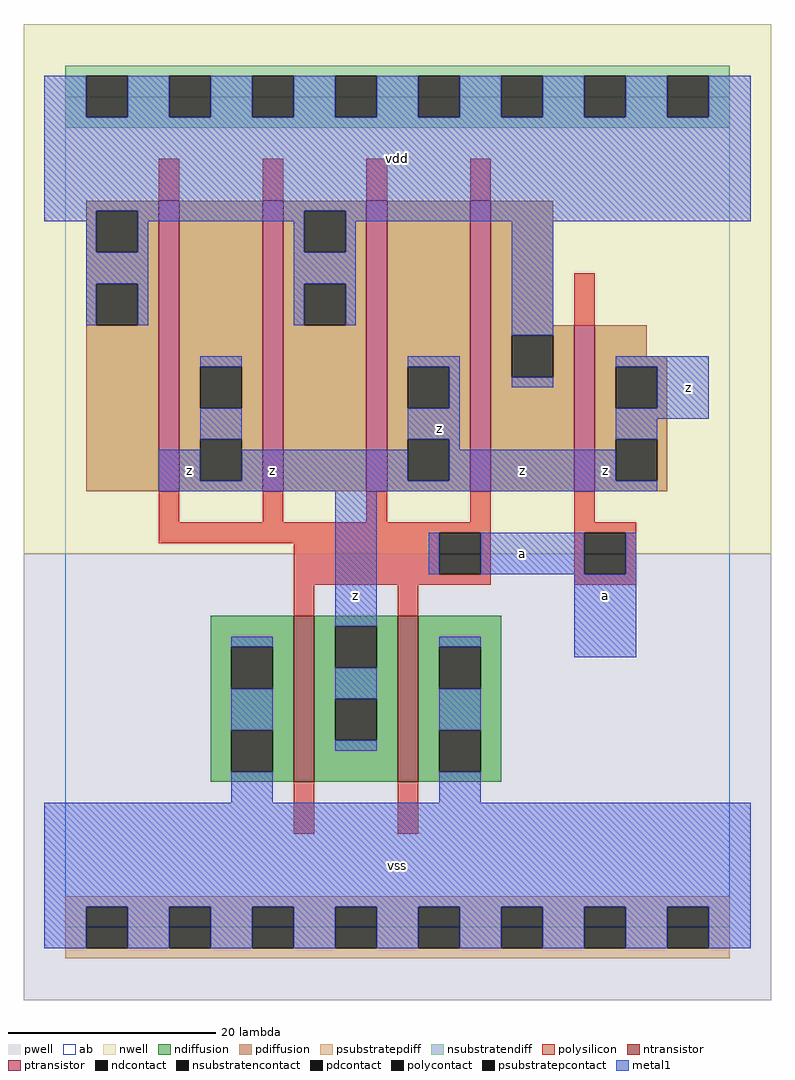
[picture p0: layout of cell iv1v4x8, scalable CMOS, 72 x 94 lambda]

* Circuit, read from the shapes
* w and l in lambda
.subckt iv1v4x8 a vdd vss z
M1 z a vss vss nfet w=16 l=2 m=2
M2 z a vdd vdd pfet w=28 l=2 m=4
M3 z a vdd vdd pfet w=16 l=2
.ends

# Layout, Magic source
magic
tech scmos
<< ab >>
rect 0 0 64 80
<< pwell >>
rect -4 -7 68 36
<< nwell >>
rect -4 36 68 87
<< polysilicon >>
rect 9 70 11 74
rect 19 70 21 74
rect 29 70 31 74
rect 39 70 41 74
rect 49 58 51 63
rect 9 39 11 42
rect 19 39 21 42
rect 29 39 31 42
rect 39 39 41 42
rect 9 38 41 39
rect 9 37 36 38
rect 22 34 36 37
rect 40 34 41 38
rect 22 33 41 34
rect 49 39 51 42
rect 49 38 55 39
rect 49 34 50 38
rect 54 34 55 38
rect 49 33 55 34
rect 22 30 24 33
rect 32 30 34 33
rect 22 9 24 14
rect 32 9 34 14
<< ndiffusion >>
rect 14 27 22 30
rect 14 23 16 27
rect 20 23 22 27
rect 14 19 22 23
rect 14 15 16 19
rect 20 15 22 19
rect 14 14 22 15
rect 24 29 32 30
rect 24 25 26 29
rect 30 25 32 29
rect 24 22 32 25
rect 24 18 26 22
rect 30 18 32 22
rect 24 14 32 18
rect 34 27 42 30
rect 34 23 36 27
rect 40 23 42 27
rect 34 19 42 23
rect 34 15 36 19
rect 40 15 42 19
rect 34 14 42 15
<< pdiffusion >>
rect 2 69 9 70
rect 2 65 3 69
rect 7 65 9 69
rect 2 62 9 65
rect 2 58 3 62
rect 7 58 9 62
rect 2 42 9 58
rect 11 54 19 70
rect 11 50 13 54
rect 17 50 19 54
rect 11 47 19 50
rect 11 43 13 47
rect 17 43 19 47
rect 11 42 19 43
rect 21 69 29 70
rect 21 65 23 69
rect 27 65 29 69
rect 21 62 29 65
rect 21 58 23 62
rect 27 58 29 62
rect 21 42 29 58
rect 31 54 39 70
rect 31 50 33 54
rect 37 50 39 54
rect 31 47 39 50
rect 31 43 33 47
rect 37 43 39 47
rect 31 42 39 43
rect 41 58 47 70
rect 41 57 49 58
rect 41 53 43 57
rect 47 53 49 57
rect 41 42 49 53
rect 51 55 56 58
rect 51 54 58 55
rect 51 50 53 54
rect 57 50 58 54
rect 51 47 58 50
rect 51 43 53 47
rect 57 43 58 47
rect 51 42 58 43
<< metal1 >>
rect -2 78 2 82
rect 6 78 10 82
rect 14 78 18 82
rect 22 78 26 82
rect 30 78 34 82
rect 38 78 42 82
rect 46 78 50 82
rect 54 78 58 82
rect 62 78 66 82
rect -2 69 66 78
rect -2 68 3 69
rect 2 65 3 68
rect 7 68 23 69
rect 7 65 8 68
rect 2 62 8 65
rect 2 58 3 62
rect 7 58 8 62
rect 22 65 23 68
rect 27 68 66 69
rect 27 65 28 68
rect 22 62 28 65
rect 22 58 23 62
rect 27 58 28 62
rect 43 57 47 68
rect 13 54 17 55
rect 13 47 17 50
rect 9 43 13 46
rect 33 54 38 55
rect 37 50 38 54
rect 43 52 47 53
rect 53 54 62 55
rect 33 47 38 50
rect 17 43 33 46
rect 37 46 38 47
rect 57 50 62 54
rect 53 49 62 50
rect 53 47 57 49
rect 37 43 53 46
rect 9 42 57 43
rect 26 29 30 42
rect 35 34 36 38
rect 40 34 50 38
rect 54 34 55 38
rect 16 27 20 28
rect 16 19 20 23
rect 26 22 30 25
rect 26 17 30 18
rect 36 27 40 28
rect 49 26 55 34
rect 36 19 40 23
rect 16 12 20 15
rect 36 12 40 15
rect -2 2 66 12
rect -2 -2 2 2
rect 6 -2 10 2
rect 14 -2 18 2
rect 22 -2 26 2
rect 30 -2 34 2
rect 38 -2 42 2
rect 46 -2 50 2
rect 54 -2 58 2
rect 62 -2 66 2
<< ntransistor >>
rect 22 14 24 30
rect 32 14 34 30
<< ptransistor >>
rect 9 42 11 70
rect 19 42 21 70
rect 29 42 31 70
rect 39 42 41 70
rect 49 42 51 58
<< polycontact >>
rect 36 34 40 38
rect 50 34 54 38
<< ndcontact >>
rect 16 23 20 27
rect 16 15 20 19
rect 26 25 30 29
rect 26 18 30 22
rect 36 23 40 27
rect 36 15 40 19
<< pdcontact >>
rect 3 65 7 69
rect 3 58 7 62
rect 13 50 17 54
rect 13 43 17 47
rect 23 65 27 69
rect 23 58 27 62
rect 33 50 37 54
rect 33 43 37 47
rect 43 53 47 57
rect 53 50 57 54
rect 53 43 57 47
<< psubstratepcontact >>
rect 2 -2 6 2
rect 10 -2 14 2
rect 18 -2 22 2
rect 26 -2 30 2
rect 34 -2 38 2
rect 42 -2 46 2
rect 50 -2 54 2
rect 58 -2 62 2
<< nsubstratencontact >>
rect 2 78 6 82
rect 10 78 14 82
rect 18 78 22 82
rect 26 78 30 82
rect 34 78 38 82
rect 42 78 46 82
rect 50 78 54 82
rect 58 78 62 82
<< psubstratepdiff >>
rect 0 2 64 3
rect 0 -2 2 2
rect 6 -2 10 2
rect 14 -2 18 2
rect 22 -2 26 2
rect 30 -2 34 2
rect 38 -2 42 2
rect 46 -2 50 2
rect 54 -2 58 2
rect 62 -2 64 2
rect 0 -3 64 -2
<< nsubstratendiff >>
rect 0 82 64 83
rect 0 78 2 82
rect 6 78 10 82
rect 14 78 18 82
rect 22 78 26 82
rect 30 78 34 82
rect 38 78 42 82
rect 46 78 50 82
rect 54 78 58 82
rect 62 78 64 82
rect 0 77 64 78
<< labels >>
rlabel metal1 12 44 12 44 6 z
rlabel metal1 28 32 28 32 6 z
rlabel metal1 20 44 20 44 6 z
rlabel metal1 32 6 32 6 6 vss
rlabel metal1 44 36 44 36 6 a
rlabel metal1 44 44 44 44 6 z
rlabel metal1 36 48 36 48 6 z
rlabel metal1 32 74 32 74 6 vdd
rlabel metal1 52 32 52 32 6 a
rlabel metal1 52 44 52 44 6 z
rlabel metal1 60 52 60 52 6 z
<< end >>
